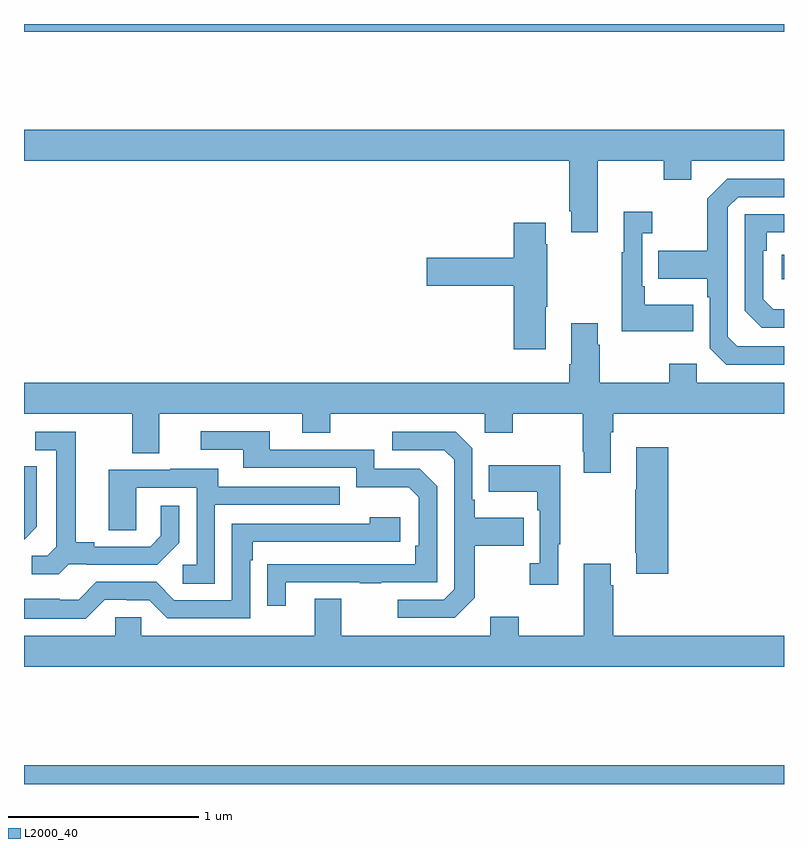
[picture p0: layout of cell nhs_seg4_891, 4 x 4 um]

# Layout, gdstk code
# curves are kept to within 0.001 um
import gdstk
lib = gdstk.Library(unit=1e-6, precision=1e-09)
def R(c, l, rs):  # rectangles x0, y0, x1, y1
    for r in rs: c.add(gdstk.rectangle(r[:2], r[2:], *l))
def P(c, l, *ps):  # polygons
    for p in ps: c.add(gdstk.Polygon(p, *l))
L2000_40 = (2000, 40)

nhs_seg4_891 = lib.new_cell('nhs_seg4_891')
R(nhs_seg4_891, L2000_40, [(157,766.9,161,767), (160.989,769.556,161,769.686), (157,770.86,161,770.9)])
P(nhs_seg4_891, L2000_40, [(160.021,770.18),(160.366,770.18),(160.366,770.081),(160.513,770.081),(160.513,770.18),(161,770.18),(161,770.344),(157,770.344),(157,770.18),(159.869,770.18),(159.869,769.915),(159.881,769.915),(159.881,769.803),(160.021,769.803)],
  [(161,769.203),(160.755,769.203),(160.704,769.254),(160.704,769.935),(160.758,769.989),(161,769.989),(161,770.085),(160.701,770.085),(160.596,769.979),(160.596,769.707),(160.339,769.707),(160.339,769.559),(160.596,769.559),(160.596,769.463),(160.608,769.463),(160.608,769.194),(160.695,769.107),(161,769.107)],
  [(160.523,769.423),(160.267,769.423),(160.267,769.519),(160.254,769.519),(160.254,769.799),(160.306,769.799),(160.306,769.912),(160.157,769.912),(160.157,769.699),(160.146,769.699),(160.146,769.283),(160.523,769.283)],
  [(161,769.399),(160.943,769.399),(160.89,769.452),(160.89,769.706),(160.91,769.706),(160.91,769.803),(161,769.803),(161,769.899),(160.794,769.899),(160.794,769.392),(160.884,769.302),(161,769.302)],
  [(159.745,769.411),(159.753,769.411),(159.753,769.742),(159.745,769.742),(159.745,769.855),(159.578,769.855),(159.578,769.67),(159.12,769.67),(159.12,769.523),(159.578,769.523),(159.578,769.188),(159.745,769.188)],
  [(160.087,768.752),(160.1,768.752),(160.1,768.848),(161,768.848),(161,769.012),(160.542,769.012),(160.542,769.111),(160.396,769.111),(160.396,769.012),(160.029,769.012),(160.029,769.211),(160.021,769.211),(160.021,769.324),(159.881,769.324),(159.881,769.108),(159.869,769.108),(159.869,769.012),(157,769.012),(157,768.848),(157.571,768.848),(157.571,768.64),(157.711,768.64),(157.711,768.848),(158.465,768.848),(158.465,768.749),(158.613,768.749),(158.613,768.848),(159.426,768.848),(159.426,768.749),(159.573,768.749),(159.573,768.848),(159.94,768.848),(159.94,768.649),(159.947,768.649),(159.947,768.537),(160.087,768.537)],
  [(158.377,767.961),(158.767,767.961),(158.767,767.956),(158.879,767.956),(158.879,767.961),(159.174,767.961),(159.174,768.468),(159.084,768.558),(158.844,768.558),(158.844,768.66),(158.293,768.66),(158.293,768.756),(157.929,768.756),(157.929,768.66),(158.153,768.66),(158.153,768.564),(158.748,768.564),(158.748,768.461),(159.025,768.461),(159.078,768.408),(159.078,768.154),(159.058,768.154),(159.058,768.057),(158.281,768.056),(158.281,767.838),(158.377,767.838)],
  [(159.373,767.881),(159.373,768.154),(159.629,768.154),(159.629,768.301),(159.373,768.301),(159.373,768.397),(159.36,768.397),(159.36,768.666),(159.273,768.753),(158.937,768.753),(158.937,768.657),(159.213,768.657),(159.264,768.606),(159.264,767.925),(159.21,767.871),(158.967,767.871),(158.967,767.775),(159.267,767.775)],
  [(157.236,768.057),(157.33,768.057),(157.33,768.054),(157.702,768.054),(157.818,768.17),(157.818,768.364),(157.721,768.364),(157.721,768.207),(157.664,768.15),(157.369,768.15),(157.369,768.173),(157.273,768.173),(157.273,768.753),(157.059,768.753),(157.059,768.657),(157.169,768.657),(157.169,768.149),(157.122,768.102),(157.041,768.102),(157.041,768.005),(157.184,768.005)],
  [(160.391,768.673),(160.223,768.673),(160.223,768.449),(160.216,768.449),(160.216,768.118),(160.223,768.118),(160.223,768.006),(160.391,768.006)],
  [(159.811,768.161),(159.823,768.161),(159.823,768.577),(159.445,768.577),(159.445,768.437),(159.702,768.437),(159.702,768.341),(159.714,768.341),(159.714,768.062),(159.663,768.062),(159.663,767.949),(159.811,767.949)],
  [(157.068,768.254),(157.068,768.572),(157,768.572),(157,768.186)],
  [(158.004,768.369),(158.663,768.369),(158.663,768.465),(158.023,768.465),(158.023,768.559),(157.769,768.559),(157.769,768.555),(157.445,768.555),(157.445,768.235),(157.59,768.235),(157.59,768.459),(157.908,768.459),(157.908,768.054),(157.836,768.054),(157.836,767.953),(158.004,767.953)],
  [(157.425,767.871),(157.541,767.871),(157.541,767.868),(157.659,767.868),(157.755,767.772),(158.19,767.772),(158.19,768.077),(158.203,768.077),(158.203,768.174),(158.98,768.174),(158.98,768.304),(158.819,768.304),(158.819,768.27),(158.094,768.27),(158.094,767.868),(157.791,767.868),(157.695,767.964),(157.38,767.964),(157.287,767.871),(157.187,767.871),(157.187,767.875),(157,767.875),(157,767.771),(157.325,767.771)],
  [(161,767.68),(160.1,767.68),(160.1,767.945),(160.087,767.945),(160.087,768.058),(159.947,768.058),(159.947,767.68),(159.603,767.68),(159.603,767.779),(159.455,767.779),(159.455,767.68),(158.671,767.68),(158.671,767.875),(158.531,767.875),(158.531,767.68),(157.617,767.68),(157.617,767.778),(157.479,767.778),(157.479,767.68),(157,767.68),(157,767.516),(161,767.516)])

lib.write_gds('nhs_seg4_891.gds')
